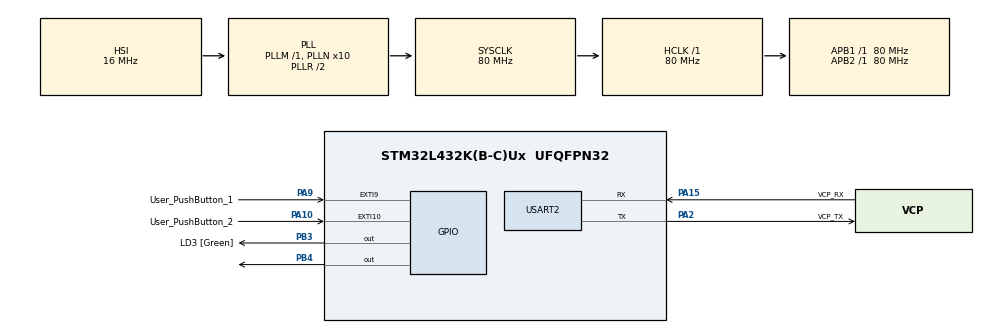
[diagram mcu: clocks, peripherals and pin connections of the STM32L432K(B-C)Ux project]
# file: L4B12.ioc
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Mcu.Family=STM32L4
Mcu.Name=STM32L432K(B-C)Ux
Mcu.Package=UFQFPN32
NVIC.EXTI15_10_IRQn=true\:0\:0\:false\:false\:true\:true\:true\:true
NVIC.EXTI9_5_IRQn=true\:0\:0\:false\:false\:true\:true\:true\:true
NVIC.PriorityGroup=NVIC_PRIORITYGROUP_4
NVIC.TIM2_IRQn=true\:0\:0\:false\:false\:true\:true\:true\:true
PA0.GPIO_Label=MCO [High speed clock in]
PA0.Mode=HSE-External-Clock-Source-for-LittleOrca
PA0.Signal=RCC_CK_IN
PA10.GPIO_Label=User_PushButton_2
PA10.GPIO_PuPd=GPIO_PULLUP
PA10.Signal=GPXTI10
PA13\ (JTMS-SWDIO).GPIO_Label=SWDIO
PA13\ (JTMS-SWDIO).Mode=Serial_Wire
PA13\ (JTMS-SWDIO).Signal=SYS_JTMS-SWDIO
PA14\ (JTCK-SWCLK).GPIO_Label=SWCLK
PA14\ (JTCK-SWCLK).Mode=Serial_Wire
PA14\ (JTCK-SWCLK).Signal=SYS_JTCK-SWCLK
PA15\ (JTDI).GPIO_Label=VCP_RX
PA15\ (JTDI).Mode=Asynchronous
PA15\ (JTDI).Signal=USART2_RX
PA2.GPIO_Label=VCP_TX
PA2.Mode=Asynchronous
PA2.Signal=USART2_TX
PA9.GPIO_Label=User_PushButton_1
PA9.GPIO_PuPd=GPIO_PULLUP
PA9.Signal=GPXTI9
PB3\ (JTDO-TRACESWO).GPIO_Label=LD3 [Green]
PB3\ (JTDO-TRACESWO).Signal=GPIO_Output
PB4\ (NJTRST).Signal=GPIO_Output
PC14-OSC32_IN\ (PC14).Mode=LSE-External-Oscillator
PC14-OSC32_IN\ (PC14).Signal=RCC_OSC32_IN
PC15-OSC32_OUT\ (PC15).Mode=LSE-External-Oscillator
PC15-OSC32_OUT\ (PC15).Signal=RCC_OSC32_OUT
ProjectManager.HeapSize=0x200
ProjectManager.StackSize=0x400
ProjectManager.TargetToolchain=Makefile
RCC.ADCFreq_Value=64000000
RCC.AHBFreq_Value=80000000
RCC.APB1Freq_Value=80000000
RCC.APB1TimFreq_Value=80000000
RCC.APB2Freq_Value=80000000
RCC.APB2TimFreq_Value=80000000
RCC.CortexFreq_Value=80000000
RCC.HCLKFreq_Value=80000000
RCC.HSE_VALUE=8000000
RCC.HSI16_VALUE=16000000
RCC.HSI48_VALUE=48000000
RCC.HSI_VALUE=16000000
RCC.MSI_VALUE=4000000
RCC.PLLMUL=RCC_PLLMUL_4
RCC.PLLN=10
RCC.PLLSourceVirtual=RCC_PLLSOURCE_HSI
RCC.SYSCLKFreq_VALUE=80000000
RCC.SYSCLKSource=RCC_SYSCLKSOURCE_PLLCLK
RCC.USBFreq_Value=64000000
RCC.VCOOutputFreq_Value=160000000
TIM2.ClockDivision=TIM_CLOCKDIVISION_DIV1
TIM2.Period=80000
TIM2.Prescaler=100
TIM2.TIM_MasterOutputTrigger=TIM_TRGO_UPDATE
USART2.VirtualMode-Asynchronous=VM_ASYNC
VP_TIM2_VS_ClockSourceINT.Mode=Internal
board=NUCLEO-L432KC

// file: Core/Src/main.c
/* USER CODE BEGIN Header */
/**
  ******************************************************************************
  * @file           : main.c
  * @brief          : Main program body
  ******************************************************************************
  * @attention
  *
  * Copyright (c) 2023 STMicroelectronics.
  * All rights reserved.
  *
  * This software is licensed under terms that can be found in the LICENSE file
  * in the root directory of this software component.
  * If no LICENSE file comes with this software, it is provided AS-IS.
  *
  ******************************************************************************
  */
/* USER CODE END Header */
#include "main.h"
#include "tim.h"
#include "usart.h"
#include "gpio.h"

/* USER CODE BEGIN Includes */
#include <stdio.h>
/* USER CODE END Includes */

/* USER CODE BEGIN PV */
volatile uint8_t debounce1 = 0;
volatile uint8_t debounce2 = 0;
volatile uint8_t btn1_flg = 0;
volatile uint8_t btn2_flg = 0;
volatile uint32_t Blink_delay = 0;
volatile uint8_t chars_read = 0;
char btn1_txt[255];

/* USER CODE END PV */

void SystemClock_Config(void);

int main(void)
{

  /* MCU Configuration--------------------------------------------------------*/

  /* Reset of all peripherals, Initializes the Flash interface and the Systick. */
  HAL_Init();

  /* Configure the system clock */
  SystemClock_Config();

  /* Initialize all configured peripherals */
  MX_GPIO_Init();
  MX_USART2_UART_Init();
  MX_TIM2_Init();

  /* Infinite loop */
  /* USER CODE BEGIN WHILE */
  while (1)
  {
    if(Blink_delay == 0)
    {
      HAL_GPIO_WritePin(GPIOB,GPIO_PIN_4,RESET);
    }
    else
    {
      HAL_GPIO_TogglePin(GPIOB,GPIO_PIN_4);
      HAL_Delay(Blink_delay);
    }
    /* USER CODE END WHILE */

  }
}

void SystemClock_Config(void)
{
  RCC_OscInitTypeDef RCC_OscInitStruct = {0};
  RCC_ClkInitTypeDef RCC_ClkInitStruct = {0};

  /** Configure the main internal regulator output voltage
  */
  if (HAL_PWREx_ControlVoltageScaling(PWR_REGULATOR_VOLTAGE_SCALE1) != HAL_OK)
  {
    Error_Handler();
  }

  /** Initializes the RCC Oscillators according to the specified parameters
  * in the RCC_OscInitTypeDef structure.
  */
  RCC_OscInitStruct.OscillatorType = RCC_OSCILLATORTYPE_HSI;
  RCC_OscInitStruct.HSIState = RCC_HSI_ON;
  RCC_OscInitStruct.HSICalibrationValue = RCC_HSICALIBRATION_DEFAULT;
  RCC_OscInitStruct.PLL.PLLState = RCC_PLL_ON;
  RCC_OscInitStruct.PLL.PLLSource = RCC_PLLSOURCE_HSI;
  RCC_OscInitStruct.PLL.PLLM = 1;
  RCC_OscInitStruct.PLL.PLLN = 10;
  RCC_OscInitStruct.PLL.PLLP = RCC_PLLP_DIV7;
  RCC_OscInitStruct.PLL.PLLQ = RCC_PLLQ_DIV2;
  RCC_OscInitStruct.PLL.PLLR = RCC_PLLR_DIV2;
  if (HAL_RCC_OscConfig(&RCC_OscInitStruct) != HAL_OK)
  {
    Error_Handler();
  }

  /** Initializes the CPU, AHB and APB buses clocks
  */
  RCC_ClkInitStruct.ClockType = RCC_CLOCKTYPE_HCLK|RCC_CLOCKTYPE_SYSCLK
                              |RCC_CLOCKTYPE_PCLK1|RCC_CLOCKTYPE_PCLK2;
  RCC_ClkInitStruct.SYSCLKSource = RCC_SYSCLKSOURCE_PLLCLK;
  RCC_ClkInitStruct.AHBCLKDivider = RCC_SYSCLK_DIV1;
  RCC_ClkInitStruct.APB1CLKDivider = RCC_HCLK_DIV1;
  RCC_ClkInitStruct.APB2CLKDivider = RCC_HCLK_DIV1;

  if (HAL_RCC_ClockConfig(&RCC_ClkInitStruct, FLASH_LATENCY_4) != HAL_OK)
  {
    Error_Handler();
  }
}

/* USER CODE BEGIN 4 */

void HAL_GPIO_EXTI_Callback(uint16_t GPIO_Pin)
{

  //DEBOUNCE BTN1///////
  if(GPIO_Pin == GPIO_PIN_9)
  {
    if(debounce1 == 0)
    {
      btn1_flg = 1;
      debounce1 = 2;
      //Enablar 100 ms debounce
      HAL_TIM_OC_Start_IT(&htim2,TIM_CHANNEL_4);
    }

  }
   //////////////////////////

   //////// DEBOUNCE BTN2/////////////
  else if(GPIO_Pin == GPIO_PIN_10)
  {
    if(debounce2 == 0)
    {
      btn2_flg = 1;
      debounce2 = 2;
      //Enablar 100 ms debounce
      HAL_TIM_OC_Start_IT(&htim2,TIM_CHANNEL_4);
    }

  }
}

void HAL_TIM_OC_DelayElapsedCallback(TIM_HandleTypeDef *htim)
{
  //////////////DEBOUNCE TIMER/////////////TIMER2////////
  if(htim == &htim2)
  {
    //KNAPP 1 DEBOUNCE OCH SNABBARE BLINK////
    if(btn1_flg)
    {
      debounce1--;
      if(debounce1 == 0)
      { //Stäng av debounce
        btn1_flg = 0;
        HAL_TIM_OC_Stop_IT(&htim2,TIM_CHANNEL_4);

       if(Blink_delay <= 75)
       {
          /////Slå av
          Blink_delay = 0;
          chars_read = sprintf(btn1_txt, " User_PushButton-1 was pressed! Current Blink_Delay =%d ",Blink_delay);
          HAL_UART_Transmit(&huart2,btn1_txt,chars_read,HAL_MAX_DELAY);
          //////KVARLEVOR FRÅN TIMER-IMPLEMENTATION
          //HAL_TIM_OC_Stop_IT(&htim15,TIM_CHANNEL_2);

        }
        //Öka delay
        else
        {
          ////250 ~= 75 ms toggle speed
          Blink_delay -= 75;
          chars_read = sprintf(btn1_txt, " User_PushButton-1 was pressed! Current Blink_Delay =%d ",Blink_delay);
          HAL_UART_Transmit(&huart2,btn1_txt,chars_read,HAL_MAX_DELAY);
          //////KVARLEVOR FRÅN TIMER-IMPLEMENTATION
          //htim15.Init.Period = Blink_delay;
          //HAL_TIM_Base_Init(&htim15);
        }

      }

    }
    //KNAPP 2 DEBOUNCE OCH Långsammare BLINK////
    else if(btn2_flg)
    {
      debounce2--;
      if(debounce2 == 0)
      { //Stäng av debounce
        btn2_flg = 0;
        HAL_TIM_OC_Stop_IT(&htim2,TIM_CHANNEL_4);
        Blink_delay += 75;
        chars_read = sprintf(btn1_txt, " User_PushButton-2 was pressed! Current Blink_Delay =%d ",Blink_delay);
        HAL_UART_Transmit(&huart2,btn1_txt,chars_read,HAL_MAX_DELAY);

        //Hindra overflow, maximal delay
        /*Kvarlevor från timerimplementation
        if(Blink_delay > 65200)
        {
          /////Sätt längsta delayen
          Blink_delay =;
          //Kvarlevor från timer implementation
          //HAL_TIM_Base_Init(&htim15);
        }

        //Starta blink 75ms
        else if(Blink_delay == 0)
        {
          ////250 ~= 75 ms toggle speed
          Blink_delay = 250;
          /////////////////
          htim15.Init.Period = Blink_delay;
          HAL_TIM_Base_Init(&htim15);
          HAL_TIM_OC_Start_IT(&htim15,TIM_CHANNEL_2);
        }
        //Öka delay
        else
        {
          ////250 ~= 75 ms toggle speed
          Blink_delay += 250;
          htim15.Init.Period = Blink_delay;
          HAL_TIM_Base_Init(&htim15);
        }
        */
      }
    }
  }

  /////////TOGGLE-TIMER///////
  /*Kvarlevor från timerimplementation
  else if (htim == &htim15)
  {
    HAL_GPIO_TogglePin(GPIOB,GPIO_PIN_4);
  }
  */

}

/* USER CODE END 4 */

void Error_Handler(void)
{
  __disable_irq();
  while (1)
  {
  }
}
